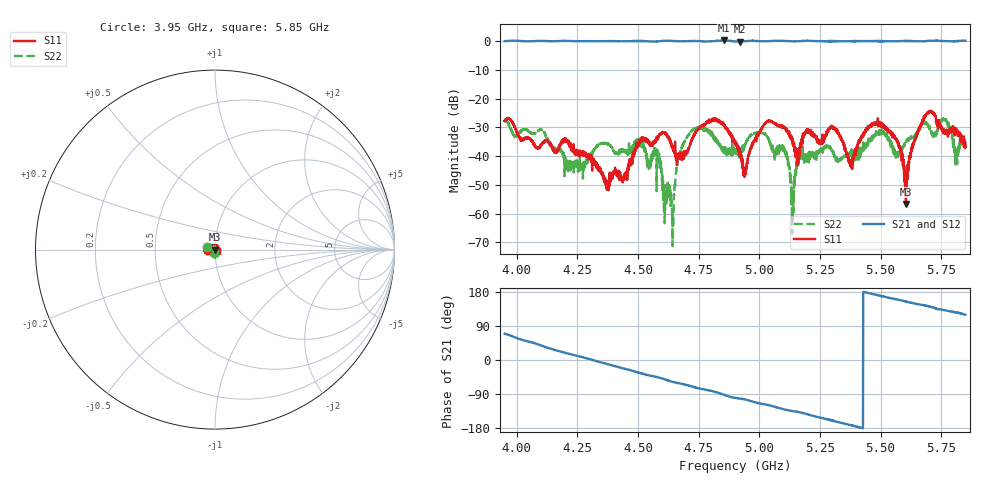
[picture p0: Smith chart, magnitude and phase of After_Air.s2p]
# GHZ S RI R 50.000000000000
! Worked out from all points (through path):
!   4501 points, 3.95 GHz to 5.85 GHz, reference 50 ohm
!   highest |S21| = 0.25 dB at 4.853 GHz (marker M1); lowest = -0.1 dB at 4.92 GHz (marker M2)
!   group delay of S21, straight-line fit = 446 ps
!   lowest |S11| = -56.7 dB at 5.605 GHz (marker M3), VSWR 1.00, Z = 50.1 - j0.0552 ohm
!   |S11| at or under -10 dB: start of sweep to end of sweep
!   |S22| runs from -71.3 to -26.8 dB; largest |S21 - S12| = 0.078
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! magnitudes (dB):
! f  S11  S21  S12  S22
! 3.95 GHz  -27.8  0.0  0.0  -27.0
! 4.267 GHz  -38.9  0.0  0.0  -43.3
! 4.373 GHz  -49.3  0.0  0.1  -35.7
! 4.584 GHz  -33.5  0.0  0.0  -40.4
! 4.641 GHz  -36.3  0.1  0.1  -60.3
! 4.669 GHz  -40.7  0.0  0.0  -39.7
! 4.721 GHz  -34.4  0.1  0.1  -31.1
! 4.853 GHz  -28.8  0.3  0.3  -37.1
! 4.9 GHz  -35.2  -0.1  0.0  -38.0
! 4.92 GHz  -40.0  -0.1  0.0  -39.9
! 4.941 GHz  -45.5  0.0  0.0  -36.2
! 5.098 GHz  -29.8  0.1  0.2  -36.5
! 5.138 GHz  -35.2  -0.1  0.0  -58.8
! 5.166 GHz  -38.2  0.0  0.0  -40.7
! 5.217 GHz  -31.6  0.1  0.1  -40.5
! 5.31 GHz  -30.3  0.1  0.0  -39.8
! 5.377 GHz  -42.6  0.0  0.0  -39.1
! 5.457 GHz  -29.5  0.0  0.1  -34.3
! 5.534 GHz  -31.3  0.0  0.1  -34.3
! 5.605 GHz  -56.7  0.0  0.1  -35.1
! 5.698 GHz  -25.0  0.1  0.1  -29.8
! 5.85 GHz  -36.3  0.2  0.3  -34.5
